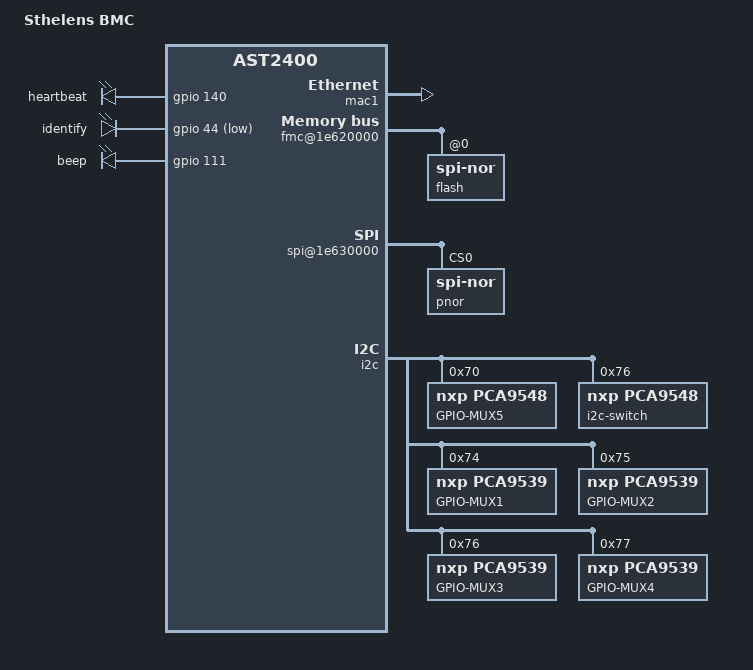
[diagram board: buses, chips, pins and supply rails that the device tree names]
/dts-v1/;

#include "ast2400.dtsi"
#include <dt-bindings/gpio/gpio.h>

/ {
	model = "Sthelens BMC";
	compatible = "ms,sthelens-bmc", "aspeed,ast2400";
	ahb {
		mac0: ethernet@1e660000 {
		        compatible = "faraday,ftgmac100", "aspeed,ast2400-mac";
		        reg = <0x1e660000 0x180>;
		        interrupts = <2>;
		        no-hw-checksum;
		        status = "disabled";
		};

		mac1: ethernet@1e680000 {
		        compatible = "faraday,ftgmac100", "aspeed,ast2400-mac";
		        reg = <0x1e680000 0x180>;
		        no-hw-checksum;
		        interrupts = <3>;
		};

		fmc@1e620000 {
			reg = < 0x1e620000 0x94
				0x20000000 0x02000000 >;
			#address-cells = <1>;
			#size-cells = <0>;
			compatible = "aspeed,fmc";
			flash@0 {
				reg = < 0 >;
				compatible = "jedec,spi-nor" ;
				/*
				 * Possibly required props:
				 * spi-max-frequency = <>
				 * spi-tx-bus-width = <>
				 * spi-rx-bus-width  = <>
				 * m25p,fast-read
				 * spi-cpol if inverse clock polarity (CPOL)
				 * spi-cpha if shifted clock phase (CPHA)
				 */
#include "aspeed-bmc-opp-flash-layout.dtsi"
			};
		};
		spi@1e630000 {
			reg = < 0x1e630000 0x18
				0x30000000 0x02000000 >;
			#address-cells = <1>;
			#size-cells = <0>;
			compatible = "aspeed,smc";
			flash {
				reg = < 0 >;
				compatible = "jedec,spi-nor" ;
				label = "pnor";
				/* spi-max-frequency = <>; */
				/* m25p,fast-read; */
			};
		};
		apb {
			i2c: i2c@1e78a040 {
				i2c1: i2c-bus@80 {
					GPIO-MUX5@70 {
							compatible = "nxp,pca9548";
							reg = <0x70>;
					};
				};
				i2c2: i2c-bus@c0 {
					i2c-switch@76 {
							compatible = "nxp,pca9548";
							reg = <0x76>;
                			i2c@0 {
                        			reg = <0x00>;
                			};
                			i2c@1 {
                        			reg = <0x01>;
                        	};
                			i2c@2 {
                        			reg = <0x02>;
                			};
                			i2c@3 {
                        			reg = <0x03>;
                        	};
                			i2c@4 {
                        			reg = <0x04>;
                			};
                			i2c@5 {
                        			reg = <0x05>;
                        	};
                			i2c@6 {
                        			reg = <0x06>;
                			};
                			i2c@7 {
                        			reg = <0x07>;
                        	};
        			};
				};
				i2c3: i2c-bus@100 {
        				GPIO-MUX1@74 {
                								compatible = "nxp,pca9539";
                								reg = <0x74>;
        				};
                                        GPIO-MUX2@75 {
                                                                                compatible = "nxp,pca9539";
                                                                                reg = <0x75>;
                                        };
                                        GPIO-MUX3@76 {
                                                                                compatible = "nxp,pca9539";
                                                                                reg = <0x76>;
                                        };
                                        GPIO-MUX4@77 {
                                                                                compatible = "nxp,pca9539";
                                                                                reg = <0x77>;
                                        };
					};
			};
		};
	};


	leds {
		compatible = "gpio-leds";

		heartbeat {
			gpios = <&gpio 140 GPIO_ACTIVE_HIGH>;
			default-state = "keep";
		};
		identify {
			gpios = <&gpio 44 GPIO_ACTIVE_LOW>;
			default-state = "keep";
		};
		beep {
			gpios = <&gpio 111 GPIO_ACTIVE_HIGH>;
			default-state = "keep";
		};
	};
};

